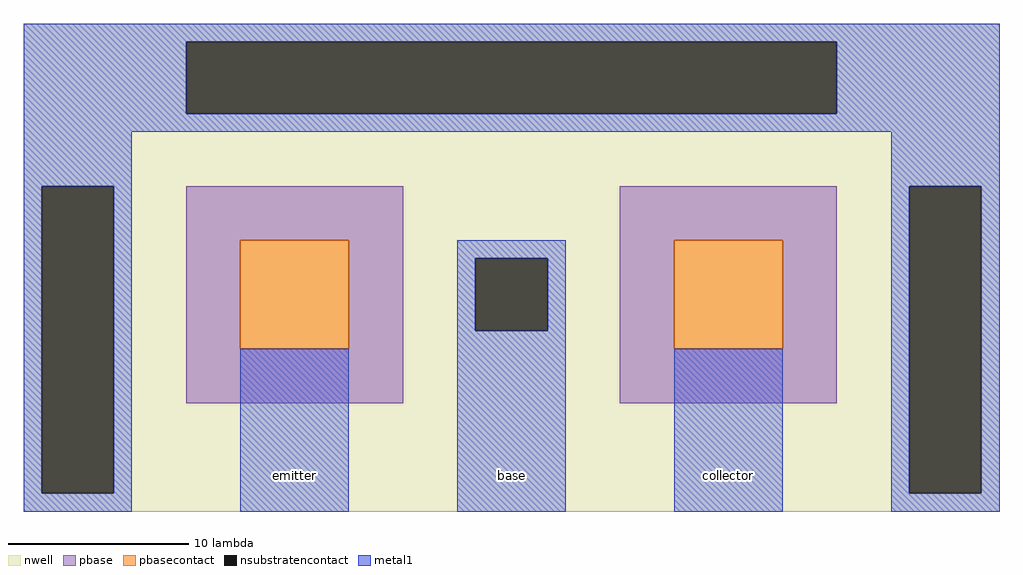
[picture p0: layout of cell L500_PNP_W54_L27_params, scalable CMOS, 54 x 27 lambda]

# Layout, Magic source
magic
tech scmos
<< nwell >>
rect -12 -9 42 18
<< metal1 >>
rect -12 17 42 18
rect -12 13 -3 17
rect 33 13 42 17
rect -12 12 42 13
rect -12 9 -6 12
rect -12 -8 -11 9
rect -7 -8 -6 9
rect 36 9 42 12
rect -12 -9 -6 -8
rect 0 -9 6 0
rect 12 5 18 6
rect 12 1 13 5
rect 17 1 18 5
rect 12 -9 18 1
rect 24 -9 30 0
rect 36 -8 37 9
rect 41 -8 42 9
rect 36 -9 42 -8
<< pbase >>
rect -3 6 9 9
rect -3 0 0 6
rect 6 0 9 6
rect 21 6 33 9
rect -3 -3 9 0
rect 21 0 24 6
rect 30 0 33 6
rect 21 -3 33 0
<< pbasecontact >>
rect 0 0 6 6
rect 24 0 30 6
<< nsubstratencontact >>
rect -3 13 33 17
rect -11 -8 -7 9
rect 13 1 17 5
rect 37 -8 41 9
<< labels >>
rlabel metal1 14 -8 16 -6 1 base
rlabel metal1 26 -8 28 -6 1 collector
rlabel metal1 2 -8 4 -6 1 emitter
<< end >>
